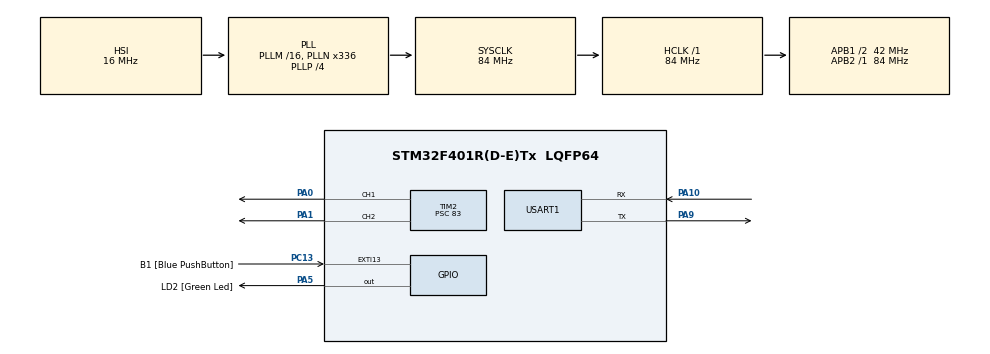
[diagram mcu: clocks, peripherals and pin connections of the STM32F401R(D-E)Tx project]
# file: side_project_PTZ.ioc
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FREERTOS.Queues01=cmdQueue,8,uint16_t,0,Dynamic,NULL,NULL
FREERTOS.Tasks01=defaultTask,24,128,StartDefaultTask,Default,NULL,Dynamic,NULL,NULL;motorTask,24,256,StartMotorTask,Default,NULL,Dynamic,NULL,NULL;statusTask,8,256,StartStatusTask,Default,NULL,Dynamic,NULL,NULL;buttonTask,8,128,StartButtonTask,Default,NULL,Dynamic,NULL,NULL
Mcu.Family=STM32F4
Mcu.Name=STM32F401R(D-E)Tx
Mcu.Package=LQFP64
NVIC.PriorityGroup=NVIC_PRIORITYGROUP_4
NVIC.TIM1_UP_TIM10_IRQn=true\:15\:0\:false\:false\:true\:false\:false\:true\:true
NVIC.TimeBase=TIM1_UP_TIM10_IRQn
NVIC.TimeBaseIP=TIM1
PA0-WKUP.Signal=S_TIM2_CH1_ETR
PA1.Signal=S_TIM2_CH2
PA10.Mode=Asynchronous
PA10.Signal=USART1_RX
PA13.GPIO_Label=TMS
PA13.Mode=Serial_Wire
PA13.Signal=SYS_JTMS-SWDIO
PA14.GPIO_Label=TCK
PA14.Mode=Serial_Wire
PA14.Signal=SYS_JTCK-SWCLK
PA2.GPIO_Label=USART_TX
PA2.GPIO_Mode=GPIO_MODE_AF_PP
PA2.GPIO_PuPd=GPIO_NOPULL
PA2.GPIO_Speed=GPIO_SPEED_FREQ_LOW
PA2.Signal=USART2_TX
PA3.GPIO_Label=USART_RX
PA3.GPIO_Mode=GPIO_MODE_AF_PP
PA3.GPIO_PuPd=GPIO_NOPULL
PA3.GPIO_Speed=GPIO_SPEED_FREQ_LOW
PA3.Signal=USART2_RX
PA5.GPIO_Label=LD2 [Green Led]
PA5.GPIO_Mode=GPIO_MODE_OUTPUT_PP
PA5.GPIO_PuPd=GPIO_NOPULL
PA5.GPIO_Speed=GPIO_SPEED_FREQ_LOW
PA5.Signal=GPIO_Output
PA9.Mode=Asynchronous
PA9.Signal=USART1_TX
PB3.GPIO_Label=SWO
PB3.Signal=SYS_JTDO-SWO
PC13-ANTI_TAMP.GPIO_Label=B1 [Blue PushButton]
PC13-ANTI_TAMP.GPIO_ModeDefaultEXTI=GPIO_MODE_IT_FALLING
PC13-ANTI_TAMP.GPIO_PuPd=GPIO_NOPULL
PC13-ANTI_TAMP.Signal=GPXTI13
PC14-OSC32_IN.Mode=LSE-External-Oscillator
PC14-OSC32_IN.Signal=RCC_OSC32_IN
PC15-OSC32_OUT.Mode=LSE-External-Oscillator
PC15-OSC32_OUT.Signal=RCC_OSC32_OUT
PH0\ -\ OSC_IN.Mode=HSE-External-Clock-Source
PH0\ -\ OSC_IN.Signal=RCC_OSC_IN
PH1\ -\ OSC_OUT.Mode=HSE-External-Clock-Source
PH1\ -\ OSC_OUT.Signal=RCC_OSC_OUT
ProjectManager.HeapSize=0x200
ProjectManager.StackSize=0x400
ProjectManager.TargetToolchain=MDK-ARM V5.32
RCC.48MHZClocksFreq_Value=48000000
RCC.AHBFreq_Value=84000000
RCC.APB1CLKDivider=RCC_HCLK_DIV2
RCC.APB1Freq_Value=42000000
RCC.APB1TimFreq_Value=84000000
RCC.APB2Freq_Value=84000000
RCC.APB2TimFreq_Value=84000000
RCC.CortexFreq_Value=84000000
RCC.HCLKFreq_Value=84000000
RCC.HSE_VALUE=8000000
RCC.HSI_VALUE=16000000
RCC.PLLN=336
RCC.PLLP=RCC_PLLP_DIV4
RCC.PLLQ=7
RCC.SYSCLKFreq_VALUE=84000000
RCC.SYSCLKSource=RCC_SYSCLKSOURCE_PLLCLK
RCC.VCOOutputFreq_Value=336000000
SH.S_TIM2_CH1_ETR.0=TIM2_CH1,PWM Generation1 CH1
SH.S_TIM2_CH2.0=TIM2_CH2,PWM Generation2 CH2
TIM2.AutoReloadPreload=TIM_AUTORELOAD_PRELOAD_ENABLE
TIM2.Channel-PWM\ Generation1\ CH1=TIM_CHANNEL_1
TIM2.Channel-PWM\ Generation2\ CH2=TIM_CHANNEL_2
TIM2.Period=19999
TIM2.Prescaler=83
TIM2.Pulse-PWM\ Generation1\ CH1=1500
TIM2.Pulse-PWM\ Generation2\ CH2=1500
USART1.VirtualMode=VM_ASYNC
VP_FREERTOS_VS_CMSIS_V2.Mode=CMSIS_V2
VP_SYS_VS_tim1.Mode=TIM1
VP_TIM2_VS_ClockSourceINT.Mode=Internal
board=NUCLEO-F401RE

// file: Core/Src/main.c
/* USER CODE BEGIN Header */
/**
  ******************************************************************************
  * @file           : main.c
  * @brief          : Main program body
  ******************************************************************************
  */
/* USER CODE END Header */
#include "main.h"
#include "cmsis_os.h"

/* USER CODE BEGIN Includes */

#include <string.h>
#include <stdio.h>
#include <stdlib.h>

/* USER CODE END Includes */

/* USER CODE BEGIN PTD */
typedef enum {
    CMD_PAN_ABSOLUTE,
    CMD_TILT_ABSOLUTE,
    CMD_PAN_RELATIVE,
    CMD_TILT_RELATIVE,
    CMD_CENTER,
    CMD_STOP
} cmd_type_t;

typedef struct {
    cmd_type_t type;
    int value;
} motor_cmd_t;
/* USER CODE END PTD */

TIM_HandleTypeDef htim2;

UART_HandleTypeDef huart1;

/* Definitions for defaultTask */
osThreadId_t defaultTaskHandle;
const osThreadAttr_t defaultTask_attributes = {
  .name = "defaultTask",
  .stack_size = 128 * 4,
  .priority = (osPriority_t) osPriorityNormal,
};
/* Definitions for motorTask */
osThreadId_t motorTaskHandle;
const osThreadAttr_t motorTask_attributes = {
  .name = "motorTask",
  .stack_size = 256 * 4,
  .priority = (osPriority_t) osPriorityNormal,
};
/* Definitions for statusTask */
osThreadId_t statusTaskHandle;
const osThreadAttr_t statusTask_attributes = {
  .name = "statusTask",
  .stack_size = 256 * 4,
  .priority = (osPriority_t) osPriorityNormal,
};
/* Definitions for buttonTask */
osThreadId_t buttonTaskHandle;
const osThreadAttr_t buttonTask_attributes = {
  .name = "buttonTask",
  .stack_size = 128 * 4,
  .priority = (osPriority_t) osPriorityNormal,
};
/* Definitions for cmdQueue */
osMessageQueueId_t cmdQueueHandle;
const osMessageQueueAttr_t cmdQueue_attributes = {
  .name = "cmdQueue"
};
/* USER CODE BEGIN PV */

int pan_angle = 90;   // current PAN angle (0~180)
int tilt_angle = 90;  // current TILT angle (0~180)

int pan_target = 90;  // target angle for PAN
int tilt_target = 90; // target angle for TILT

/* USER CODE END PV */

void SystemClock_Config(void);
static void MX_GPIO_Init(void);
static void MX_TIM2_Init(void);
static void MX_USART1_UART_Init(void);
void StartDefaultTask(void *argument);
void StartMotorTask(void *argument);
void StartStatusTask(void *argument);
void StartButtonTask(void *argument);

/* USER CODE BEGIN 0 */

void setServoAngle(uint32_t channel, int angle) {
    if (angle < 0) angle = 0;
    if (angle > 180) angle = 180;
    uint32_t ccr = 500 + (angle * 2000) / 180;
    __HAL_TIM_SET_COMPARE(&htim2, channel, ccr);
}

/* USER CODE END 0 */

int main(void)
{

  /* MCU Configuration--------------------------------------------------------*/

  /* Reset of all peripherals, Initializes the Flash interface and the Systick. */
  HAL_Init();

  /* Configure the system clock */
  SystemClock_Config();

  /* Initialize all configured peripherals */
  MX_GPIO_Init();
  MX_TIM2_Init();
  MX_USART1_UART_Init();
  /* USER CODE BEGIN 2 */

  // Start PWM output on both channels (PAN=CH1, TILT=CH2)
  HAL_TIM_PWM_Start(&htim2, TIM_CHANNEL_1);
  HAL_TIM_PWM_Start(&htim2, TIM_CHANNEL_2);

  // Move both servos to center (90 deg) on boot
  setServoAngle(TIM_CHANNEL_1, pan_angle);
  setServoAngle(TIM_CHANNEL_2, tilt_angle);

  // Notify host (RPi) that PTZ firmware is ready
  char msg[] = "PTZ Ready\r\n";
  HAL_UART_Transmit(&huart1, (uint8_t*)msg, strlen(msg), 100);

  /* USER CODE END 2 */

  /* Init scheduler */
  osKernelInitialize();

  /* Create queue and threads (manually added due to CubeMX 6.7 bug) */
  cmdQueueHandle = osMessageQueueNew(8, sizeof(motor_cmd_t), &cmdQueue_attributes);

  defaultTaskHandle = osThreadNew(StartDefaultTask, NULL, &defaultTask_attributes);
  motorTaskHandle = osThreadNew(StartMotorTask, NULL, &motorTask_attributes);
  statusTaskHandle = osThreadNew(StartStatusTask, NULL, &statusTask_attributes);
  buttonTaskHandle = osThreadNew(StartButtonTask, NULL, &buttonTask_attributes);

  /* Start scheduler */
  osKernelStart();

  /* We should never get here as control is now taken by the scheduler */
  /* Infinite loop */
  while (1)
  {

  }
}

void SystemClock_Config(void)
{
  RCC_OscInitTypeDef RCC_OscInitStruct = {0};
  RCC_ClkInitTypeDef RCC_ClkInitStruct = {0};

  __HAL_RCC_PWR_CLK_ENABLE();
  __HAL_PWR_VOLTAGESCALING_CONFIG(PWR_REGULATOR_VOLTAGE_SCALE2);

  RCC_OscInitStruct.OscillatorType = RCC_OSCILLATORTYPE_HSI;
  RCC_OscInitStruct.HSIState = RCC_HSI_ON;
  RCC_OscInitStruct.HSICalibrationValue = RCC_HSICALIBRATION_DEFAULT;
  RCC_OscInitStruct.PLL.PLLState = RCC_PLL_ON;
  RCC_OscInitStruct.PLL.PLLSource = RCC_PLLSOURCE_HSI;
  RCC_OscInitStruct.PLL.PLLM = 16;
  RCC_OscInitStruct.PLL.PLLN = 336;
  RCC_OscInitStruct.PLL.PLLP = RCC_PLLP_DIV4;
  RCC_OscInitStruct.PLL.PLLQ = 7;
  if (HAL_RCC_OscConfig(&RCC_OscInitStruct) != HAL_OK)
  {
    Error_Handler();
  }

  RCC_ClkInitStruct.ClockType = RCC_CLOCKTYPE_HCLK|RCC_CLOCKTYPE_SYSCLK
                              |RCC_CLOCKTYPE_PCLK1|RCC_CLOCKTYPE_PCLK2;
  RCC_ClkInitStruct.SYSCLKSource = RCC_SYSCLKSOURCE_PLLCLK;
  RCC_ClkInitStruct.AHBCLKDivider = RCC_SYSCLK_DIV1;
  RCC_ClkInitStruct.APB1CLKDivider = RCC_HCLK_DIV2;
  RCC_ClkInitStruct.APB2CLKDivider = RCC_HCLK_DIV1;

  if (HAL_RCC_ClockConfig(&RCC_ClkInitStruct, FLASH_LATENCY_2) != HAL_OK)
  {
    Error_Handler();
  }
}

static void MX_TIM2_Init(void)
{

  TIM_ClockConfigTypeDef sClockSourceConfig = {0};
  TIM_MasterConfigTypeDef sMasterConfig = {0};
  TIM_OC_InitTypeDef sConfigOC = {0};

  htim2.Instance = TIM2;
  htim2.Init.Prescaler = 83;
  htim2.Init.CounterMode = TIM_COUNTERMODE_UP;
  htim2.Init.Period = 19999;
  htim2.Init.ClockDivision = TIM_CLOCKDIVISION_DIV1;
  htim2.Init.AutoReloadPreload = TIM_AUTORELOAD_PRELOAD_ENABLE;
  if (HAL_TIM_Base_Init(&htim2) != HAL_OK) { Error_Handler(); }
  sClockSourceConfig.ClockSource = TIM_CLOCKSOURCE_INTERNAL;
  if (HAL_TIM_ConfigClockSource(&htim2, &sClockSourceConfig) != HAL_OK) { Error_Handler(); }
  if (HAL_TIM_PWM_Init(&htim2) != HAL_OK) { Error_Handler(); }
  sMasterConfig.MasterOutputTrigger = TIM_TRGO_RESET;
  sMasterConfig.MasterSlaveMode = TIM_MASTERSLAVEMODE_DISABLE;
  if (HAL_TIMEx_MasterConfigSynchronization(&htim2, &sMasterConfig) != HAL_OK) { Error_Handler(); }
  sConfigOC.OCMode = TIM_OCMODE_PWM1;
  sConfigOC.Pulse = 1500;
  sConfigOC.OCPolarity = TIM_OCPOLARITY_HIGH;
  sConfigOC.OCFastMode = TIM_OCFAST_DISABLE;
  if (HAL_TIM_PWM_ConfigChannel(&htim2, &sConfigOC, TIM_CHANNEL_1) != HAL_OK) { Error_Handler(); }
  if (HAL_TIM_PWM_ConfigChannel(&htim2, &sConfigOC, TIM_CHANNEL_2) != HAL_OK) { Error_Handler(); }
  HAL_TIM_MspPostInit(&htim2);
}

static void MX_USART1_UART_Init(void)
{

  huart1.Instance = USART1;
  huart1.Init.BaudRate = 115200;
  huart1.Init.WordLength = UART_WORDLENGTH_8B;
  huart1.Init.StopBits = UART_STOPBITS_1;
  huart1.Init.Parity = UART_PARITY_NONE;
  huart1.Init.Mode = UART_MODE_TX_RX;
  huart1.Init.HwFlowCtl = UART_HWCONTROL_NONE;
  huart1.Init.OverSampling = UART_OVERSAMPLING_16;
  if (HAL_UART_Init(&huart1) != HAL_OK)
  {
    Error_Handler();
  }
}

static void MX_GPIO_Init(void)
{
  GPIO_InitTypeDef GPIO_InitStruct = {0};

  /* GPIO Ports Clock Enable */
  __HAL_RCC_GPIOC_CLK_ENABLE();
  __HAL_RCC_GPIOH_CLK_ENABLE();
  __HAL_RCC_GPIOA_CLK_ENABLE();
  __HAL_RCC_GPIOB_CLK_ENABLE();

  /*Configure GPIO pin Output Level */
  HAL_GPIO_WritePin(LD2_GPIO_Port, LD2_Pin, GPIO_PIN_RESET);

  /*Configure GPIO pin : B1_Pin */
  GPIO_InitStruct.Pin = B1_Pin;
  GPIO_InitStruct.Mode = GPIO_MODE_IT_FALLING;
  GPIO_InitStruct.Pull = GPIO_NOPULL;
  HAL_GPIO_Init(B1_GPIO_Port, &GPIO_InitStruct);

  /*Configure GPIO pins : USART_TX_Pin USART_RX_Pin */
  GPIO_InitStruct.Pin = USART_TX_Pin|USART_RX_Pin;
  GPIO_InitStruct.Mode = GPIO_MODE_AF_PP;
  GPIO_InitStruct.Pull = GPIO_NOPULL;
  GPIO_InitStruct.Speed = GPIO_SPEED_FREQ_LOW;
  GPIO_InitStruct.Alternate = GPIO_AF7_USART2;
  HAL_GPIO_Init(GPIOA, &GPIO_InitStruct);

  /*Configure GPIO pin : LD2_Pin */
  GPIO_InitStruct.Pin = LD2_Pin;
  GPIO_InitStruct.Mode = GPIO_MODE_OUTPUT_PP;
  GPIO_InitStruct.Pull = GPIO_NOPULL;
  GPIO_InitStruct.Speed = GPIO_SPEED_FREQ_LOW;
  HAL_GPIO_Init(LD2_GPIO_Port, &GPIO_InitStruct);
}

/* USER CODE BEGIN Header_StartDefaultTask */
/**
  * @brief  Function implementing the defaultTask thread.
  *         Receives UART commands and pushes to motor queue.
  */
/* USER CODE END Header_StartDefaultTask */
void StartDefaultTask(void *argument)
{
  /* USER CODE BEGIN 5 */

  char rx_buffer[32];
  uint8_t idx = 0;

  for(;;)
  {
    uint8_t rx_byte;

    if (HAL_UART_Receive(&huart1, &rx_byte, 1, 1000) == HAL_OK) {
      HAL_UART_Transmit(&huart1, &rx_byte, 1, 100);

      if (rx_byte == '\r' || rx_byte == '\n') {
        rx_buffer[idx] = '\0';

        if (idx > 0) {
          char response[64];
          int len;
          motor_cmd_t cmd;
          int has_cmd = 1;

          if (strcmp(rx_buffer, "LEFT") == 0) {
            cmd.type = CMD_PAN_RELATIVE;
            cmd.value = -10;
            len = snprintf(response, sizeof(response), "PAN -10\r\n");
          }
          else if (strcmp(rx_buffer, "RIGHT") == 0) {
            cmd.type = CMD_PAN_RELATIVE;
            cmd.value = +10;
            len = snprintf(response, sizeof(response), "PAN +10\r\n");
          }
          else if (strcmp(rx_buffer, "UP") == 0) {
            cmd.type = CMD_TILT_RELATIVE;
            cmd.value = +10;
            len = snprintf(response, sizeof(response), "TILT +10\r\n");
          }
          else if (strcmp(rx_buffer, "DOWN") == 0) {
            cmd.type = CMD_TILT_RELATIVE;
            cmd.value = -10;
            len = snprintf(response, sizeof(response), "TILT -10\r\n");
          }
          else if (strcmp(rx_buffer, "CENTER") == 0) {
            cmd.type = CMD_CENTER;
            cmd.value = 0;
            len = snprintf(response, sizeof(response), "Centered\r\n");
          }
          else if (strcmp(rx_buffer, "STOP") == 0) {
            cmd.type = CMD_STOP;
            cmd.value = 0;
            len = snprintf(response, sizeof(response), "Stop\r\n");
          }
          else if (strcmp(rx_buffer, "STATUS") == 0) {
            has_cmd = 0;
            len = snprintf(response, sizeof(response),
                           "PAN:%d TILT:%d\r\n", pan_angle, tilt_angle);
          }
          else if (strncmp(rx_buffer, "PAN:", 4) == 0) {
            cmd.type = CMD_PAN_ABSOLUTE;
            cmd.value = atoi(rx_buffer + 4);
            len = snprintf(response, sizeof(response), "PAN to %d\r\n", cmd.value);
          }
          else if (strncmp(rx_buffer, "TILT:", 5) == 0) {
            cmd.type = CMD_TILT_ABSOLUTE;
            cmd.value = atoi(rx_buffer + 5);
            len = snprintf(response, sizeof(response), "TILT to %d\r\n", cmd.value);
          }
          else {
            has_cmd = 0;
            len = snprintf(response, sizeof(response),
                           "Unknown command: %s\r\n", rx_buffer);
          }

          if (has_cmd) {
            osMessageQueuePut(cmdQueueHandle, &cmd, 0, 0);
          }

          HAL_UART_Transmit(&huart1, (uint8_t*)response, len, 100);
        }
        idx = 0;
      }
      else if (idx < sizeof(rx_buffer) - 1) {
        rx_buffer[idx++] = rx_byte;
      }
    }
  }
  /* USER CODE END 5 */
}

/* USER CODE BEGIN Header_StartMotorTask */
/**
  * @brief Function implementing the motorTask thread.
  *        Consumes queue + smooth move servo.
  */
/* USER CODE END Header_StartMotorTask */
void StartMotorTask(void *argument)
{
  /* USER CODE BEGIN StartMotorTask */

  motor_cmd_t cmd;

  for(;;)
  {
    // Check queue for new command (non-blocking)
    if (osMessageQueueGet(cmdQueueHandle, &cmd, NULL, 0) == osOK) {

      switch (cmd.type) {
        case CMD_PAN_ABSOLUTE:
          pan_target = cmd.value;
          break;
        case CMD_TILT_ABSOLUTE:
          tilt_target = cmd.value;
          break;
        case CMD_PAN_RELATIVE:
          pan_target = pan_angle + cmd.value;
          break;
        case CMD_TILT_RELATIVE:
          tilt_target = tilt_angle + cmd.value;
          break;
        case CMD_CENTER:
          pan_target = 90;
          tilt_target = 90;
          break;
        case CMD_STOP:
          pan_target = pan_angle;
          tilt_target = tilt_angle;
          break;
      }

      // Clamp targets to safe range
      if (pan_target < 0) pan_target = 0;
      if (pan_target > 180) pan_target = 180;
      if (tilt_target < 0) tilt_target = 0;
      if (tilt_target > 180) tilt_target = 180;
    }

    // Smooth move: one degree step per cycle
    if (pan_angle < pan_target) {
      pan_angle++;
      setServoAngle(TIM_CHANNEL_1, pan_angle);
    }
    else if (pan_angle > pan_target) {
      pan_angle--;
      setServoAngle(TIM_CHANNEL_1, pan_angle);
    }

    if (tilt_angle < tilt_target) {
      tilt_angle++;
      setServoAngle(TIM_CHANNEL_2, tilt_angle);
    }
    else if (tilt_angle > tilt_target) {
      tilt_angle--;
      setServoAngle(TIM_CHANNEL_2, tilt_angle);
    }

    osDelay(20);   // 20ms per step => 50 deg/sec
  }
  /* USER CODE END StartMotorTask */
}

/* USER CODE BEGIN Header_StartStatusTask */
/**
  * @brief Function implementing the statusTask thread.
  *        Periodic STATUS report.
  */
/* USER CODE END Header_StartStatusTask */
void StartStatusTask(void *argument)
{
  /* USER CODE BEGIN StartStatusTask */

  char status_msg[64];

  for(;;)
  {
    int len = snprintf(status_msg, sizeof(status_msg),
                       "[STATUS] PAN:%d TILT:%d\r\n", pan_angle, tilt_angle);
    HAL_UART_Transmit(&huart1, (uint8_t*)status_msg, len, 100);

    osDelay(500);
  }
  /* USER CODE END StartStatusTask */
}

/* USER CODE BEGIN Header_StartButtonTask */
/**
  * @brief Function implementing the buttonTask thread.
  *        Polls B1 button -> CENTER command.
  */
/* USER CODE END Header_StartButtonTask */
void StartButtonTask(void *argument)
{
  /* USER CODE BEGIN StartButtonTask */

  GPIO_PinState last_state = GPIO_PIN_SET;

  for(;;)
  {
    GPIO_PinState current = HAL_GPIO_ReadPin(B1_GPIO_Port, B1_Pin);

    if (last_state == GPIO_PIN_SET && current == GPIO_PIN_RESET) {
      motor_cmd_t cmd;
      cmd.type = CMD_CENTER;
      cmd.value = 0;
      osMessageQueuePut(cmdQueueHandle, &cmd, 0, 0);

      char msg[] = "[BUTTON] Center\r\n";
      HAL_UART_Transmit(&huart1, (uint8_t*)msg, strlen(msg), 100);
    }

    last_state = current;
    osDelay(50);
  }
  /* USER CODE END StartButtonTask */
}

void HAL_TIM_PeriodElapsedCallback(TIM_HandleTypeDef *htim)
{
  if (htim->Instance == TIM1) {
    HAL_IncTick();
  }
}

void Error_Handler(void)
{
  __disable_irq();
  while (1)
  {
  }
}
